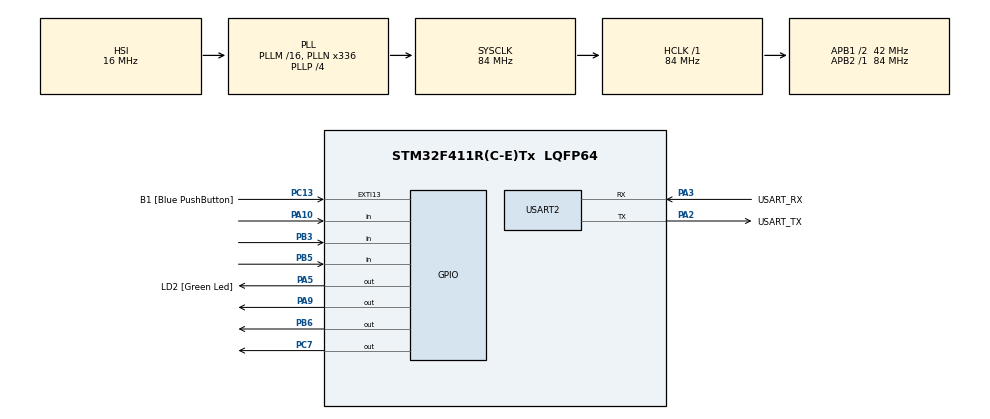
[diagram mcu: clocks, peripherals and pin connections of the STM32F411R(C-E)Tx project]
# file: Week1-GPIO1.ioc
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Mcu.Family=STM32F4
Mcu.Name=STM32F411R(C-E)Tx
Mcu.Package=LQFP64
NVIC.PriorityGroup=NVIC_PRIORITYGROUP_0
PA10.Signal=GPIO_Input
PA13.GPIO_Label=TMS
PA13.Mode=Serial_Wire
PA13.Signal=SYS_JTMS-SWDIO
PA14.GPIO_Label=TCK
PA14.Mode=Serial_Wire
PA14.Signal=SYS_JTCK-SWCLK
PA2.GPIO_Label=USART_TX
PA2.Mode=Asynchronous
PA2.Signal=USART2_TX
PA3.GPIO_Label=USART_RX
PA3.Mode=Asynchronous
PA3.Signal=USART2_RX
PA5.GPIO_Label=LD2 [Green Led]
PA5.Signal=GPIO_Output
PA9.Signal=GPIO_Output
PB3.Signal=GPIO_Input
PB5.Signal=GPIO_Input
PB6.Signal=GPIO_Output
PC13-ANTI_TAMP.GPIO_Label=B1 [Blue PushButton]
PC13-ANTI_TAMP.GPIO_ModeDefaultEXTI=GPIO_MODE_IT_FALLING
PC13-ANTI_TAMP.Signal=GPXTI13
PC14-OSC32_IN.Mode=LSE-External-Oscillator
PC14-OSC32_IN.Signal=RCC_OSC32_IN
PC15-OSC32_OUT.Mode=LSE-External-Oscillator
PC15-OSC32_OUT.Signal=RCC_OSC32_OUT
PC7.Signal=GPIO_Output
PH0\ -\ OSC_IN.Mode=HSE-External-Clock-Source
PH0\ -\ OSC_IN.Signal=RCC_OSC_IN
PH1\ -\ OSC_OUT.Mode=HSE-External-Clock-Source
PH1\ -\ OSC_OUT.Signal=RCC_OSC_OUT
ProjectManager.HeapSize=0x200
ProjectManager.StackSize=0x400
ProjectManager.TargetToolchain=STM32CubeIDE
RCC.48MHZClocksFreq_Value=84000000
RCC.AHBFreq_Value=84000000
RCC.APB1CLKDivider=RCC_HCLK_DIV2
RCC.APB1Freq_Value=42000000
RCC.APB1TimFreq_Value=84000000
RCC.APB2Freq_Value=84000000
RCC.APB2TimFreq_Value=84000000
RCC.CortexFreq_Value=84000000
RCC.FLatency-AdvancedSettings=FLASH_LATENCY_2
RCC.HCLKFreq_Value=84000000
RCC.HSE_VALUE=8000000
RCC.HSI_VALUE=16000000
RCC.PLLN=336
RCC.PLLP=RCC_PLLP_DIV4
RCC.SYSCLKFreq_VALUE=84000000
RCC.SYSCLKSource=RCC_SYSCLKSOURCE_PLLCLK
RCC.VCOOutputFreq_Value=336000000
USART2.VirtualMode=VM_ASYNC
board=NUCLEO-F411RE

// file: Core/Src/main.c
/* USER CODE BEGIN Header */
/**
 ******************************************************************************
 * @file           : main.c
 * @brief          : Main program body
 ******************************************************************************
 * @attention
 *
 * <h2><center>&copy; Copyright (c) 2021 STMicroelectronics.
 * All rights reserved.</center></h2>
 *
 * This software component is licensed by ST under BSD 3-Clause license,
 * the "License"; You may not use this file except in compliance with the
 * License. You may obtain a copy of the License at:
 *                        opensource.org/licenses/BSD-3-Clause
 *
 ******************************************************************************
 */
/* USER CODE END Header */
#include "main.h"

UART_HandleTypeDef huart2;

void SystemClock_Config(void);
static void MX_GPIO_Init(void);
static void MX_USART2_UART_Init(void);

int main(void)
{

  /* MCU Configuration--------------------------------------------------------*/

  /* Reset of all peripherals, Initializes the Flash interface and the Systick. */
  HAL_Init();

  /* Configure the system clock */
  SystemClock_Config();

  /* Initialize all configured peripherals */
  MX_GPIO_Init();
  MX_USART2_UART_Init();
  /* USER CODE BEGIN 2 */

	GPIO_PinState SWState[2]; // Now,Last
	GPIO_PinState SWState2[2]; // Now,Last
	GPIO_PinState SWState3[2]; // Now,Last
	uint16_t LEB1_HalfPeriod = 1000; //uint8_tมี255 ไม่พอ 1hz
	uint32_t TimeStamp = 0;
	uint32_t TimeStamp2 = 0;
	uint16_t Time_D5 = 500; // start 0.5Hz
	uint32_t ButtonTimeStamp = 0;
	uint8_t State_S2 = 0;
	uint8_t State_S3 = 0;

  /* USER CODE END 2 */

  /* Infinite loop */
	while (1) {

    /* USER CODE BEGIN 3 */
	if(HAL_GetTick()- ButtonTimeStamp >= 100) //ms
	{
		ButtonTimeStamp = HAL_GetTick();
		//HAL_GPIO_ReadPin(GPIOA, GPIO_PIN_10);
		//sw press=low
		SWState[0] = HAL_GPIO_ReadPin(GPIOA, GPIO_PIN_10);
		SWState2[0] = HAL_GPIO_ReadPin(GPIOB, GPIO_PIN_3);
		SWState3[0] = HAL_GPIO_ReadPin(GPIOB, GPIO_PIN_5);
		if (SWState[1] == GPIO_PIN_SET && SWState[0] == GPIO_PIN_RESET) {
			//เปลี่ยนความถี่
			if (LEB1_HalfPeriod == 1000) {
				LEB1_HalfPeriod = 500;
			}
			else if (LEB1_HalfPeriod == 500) {
				LEB1_HalfPeriod = 250;
			}
			else if (LEB1_HalfPeriod == 250) {
				LEB1_HalfPeriod = 1000/6;
			}
			else {
				LEB1_HalfPeriod = 1000;
			}
		}

		//S2
		if (SWState2[1] == GPIO_PIN_SET && SWState2[0] == GPIO_PIN_RESET) {
			//เปลี่ยนความถี่
			if (State_S2 == 0) {
				State_S2 = 1;
				HAL_GPIO_WritePin(GPIOC, GPIO_PIN_7, GPIO_PIN_SET);
			}
			else if(State_S2 == 1){
				State_S2 = 0;
				HAL_GPIO_WritePin(GPIOC, GPIO_PIN_7, GPIO_PIN_RESET);

			}

			else {
				State_S2 = 0;
				HAL_GPIO_WritePin(GPIOC, GPIO_PIN_7, GPIO_PIN_RESET);
			}
		}
		///end s2
		// S3
		if (SWState3[1] == GPIO_PIN_SET && SWState3[0] == GPIO_PIN_RESET) {
			//เปลี่ยนความถี่
			if (State_S3 == 0) {
				State_S3 = 1;
				Time_D5 == 1500;
				//HAL_GPIO_WritePin(GPIOB, GPIO_PIN_6, GPIO_PIN_SET);
			}
			else if(State_S3 == 1){
				State_S3 = 0;
				Time_D5 == 500;
				//HAL_GPIO_WritePin(GPIOB, GPIO_PIN_6, GPIO_PIN_RESET);
			}

			else {
				State_S3 = 0;
			}
		}
		//end S3

		SWState[1] = SWState[0];
		SWState2[1] = SWState2[0];
		SWState3[1] = SWState3[0]; //add test comment
	}
	// end about sw

	///////////////////////////////////////////////////// LED Action /////////////////////////////////////////////////////////////

	//run led D1
	//HAL_GetTick(); // ms
	if (HAL_GetTick() - TimeStamp >= LEB1_HalfPeriod) {
		TimeStamp = HAL_GetTick();
		if (HAL_GPIO_ReadPin(GPIOA, GPIO_PIN_9) == GPIO_PIN_SET) {
			HAL_GPIO_WritePin(GPIOA, GPIO_PIN_9, GPIO_PIN_RESET);
		} else {
			HAL_GPIO_WritePin(GPIOA, GPIO_PIN_9, GPIO_PIN_SET);
		}
	} //end s1

	//run LED D5
	if (HAL_GetTick() - TimeStamp2 >= Time_D5) {
		TimeStamp2 = HAL_GetTick();

		if (HAL_GPIO_ReadPin(GPIOB, GPIO_PIN_6) == GPIO_PIN_SET) {
			if(State_S3 == 0){ Time_D5=500; }
			else if(State_S3 == 1){ Time_D5=1500; }
			HAL_GPIO_WritePin(GPIOB, GPIO_PIN_6, GPIO_PIN_RESET);
		} else {
			if(State_S3 == 0){ Time_D5=1500; }
			else if(State_S3 == 1){ Time_D5=500; }
			HAL_GPIO_WritePin(GPIOB, GPIO_PIN_6, GPIO_PIN_SET);
		}
	}
	///end run LED D5

	}
  /* USER CODE END 3 */
}

void SystemClock_Config(void)
{
  RCC_OscInitTypeDef RCC_OscInitStruct = {0};
  RCC_ClkInitTypeDef RCC_ClkInitStruct = {0};

  /** Configure the main internal regulator output voltage
  */
  __HAL_RCC_PWR_CLK_ENABLE();
  __HAL_PWR_VOLTAGESCALING_CONFIG(PWR_REGULATOR_VOLTAGE_SCALE1);
  /** Initializes the RCC Oscillators according to the specified parameters
  * in the RCC_OscInitTypeDef structure.
  */
  RCC_OscInitStruct.OscillatorType = RCC_OSCILLATORTYPE_HSI;
  RCC_OscInitStruct.HSIState = RCC_HSI_ON;
  RCC_OscInitStruct.HSICalibrationValue = RCC_HSICALIBRATION_DEFAULT;
  RCC_OscInitStruct.PLL.PLLState = RCC_PLL_ON;
  RCC_OscInitStruct.PLL.PLLSource = RCC_PLLSOURCE_HSI;
  RCC_OscInitStruct.PLL.PLLM = 16;
  RCC_OscInitStruct.PLL.PLLN = 336;
  RCC_OscInitStruct.PLL.PLLP = RCC_PLLP_DIV4;
  RCC_OscInitStruct.PLL.PLLQ = 4;
  if (HAL_RCC_OscConfig(&RCC_OscInitStruct) != HAL_OK)
  {
    Error_Handler();
  }
  /** Initializes the CPU, AHB and APB buses clocks
  */
  RCC_ClkInitStruct.ClockType = RCC_CLOCKTYPE_HCLK|RCC_CLOCKTYPE_SYSCLK
                              |RCC_CLOCKTYPE_PCLK1|RCC_CLOCKTYPE_PCLK2;
  RCC_ClkInitStruct.SYSCLKSource = RCC_SYSCLKSOURCE_PLLCLK;
  RCC_ClkInitStruct.AHBCLKDivider = RCC_SYSCLK_DIV1;
  RCC_ClkInitStruct.APB1CLKDivider = RCC_HCLK_DIV2;
  RCC_ClkInitStruct.APB2CLKDivider = RCC_HCLK_DIV1;

  if (HAL_RCC_ClockConfig(&RCC_ClkInitStruct, FLASH_LATENCY_2) != HAL_OK)
  {
    Error_Handler();
  }
}

static void MX_USART2_UART_Init(void)
{

  huart2.Instance = USART2;
  huart2.Init.BaudRate = 115200;
  huart2.Init.WordLength = UART_WORDLENGTH_8B;
  huart2.Init.StopBits = UART_STOPBITS_1;
  huart2.Init.Parity = UART_PARITY_NONE;
  huart2.Init.Mode = UART_MODE_TX_RX;
  huart2.Init.HwFlowCtl = UART_HWCONTROL_NONE;
  huart2.Init.OverSampling = UART_OVERSAMPLING_16;
  if (HAL_UART_Init(&huart2) != HAL_OK)
  {
    Error_Handler();
  }

}

static void MX_GPIO_Init(void)
{
  GPIO_InitTypeDef GPIO_InitStruct = {0};

  /* GPIO Ports Clock Enable */
  __HAL_RCC_GPIOC_CLK_ENABLE();
  __HAL_RCC_GPIOH_CLK_ENABLE();
  __HAL_RCC_GPIOA_CLK_ENABLE();
  __HAL_RCC_GPIOB_CLK_ENABLE();

  /*Configure GPIO pin Output Level */
  HAL_GPIO_WritePin(GPIOA, LD2_Pin|GPIO_PIN_9, GPIO_PIN_RESET);

  /*Configure GPIO pin Output Level */
  HAL_GPIO_WritePin(GPIOC, GPIO_PIN_7, GPIO_PIN_RESET);

  /*Configure GPIO pin Output Level */
  HAL_GPIO_WritePin(GPIOB, GPIO_PIN_6, GPIO_PIN_RESET);

  /*Configure GPIO pin : B1_Pin */
  GPIO_InitStruct.Pin = B1_Pin;
  GPIO_InitStruct.Mode = GPIO_MODE_IT_FALLING;
  GPIO_InitStruct.Pull = GPIO_NOPULL;
  HAL_GPIO_Init(B1_GPIO_Port, &GPIO_InitStruct);

  /*Configure GPIO pins : LD2_Pin PA9 */
  GPIO_InitStruct.Pin = LD2_Pin|GPIO_PIN_9;
  GPIO_InitStruct.Mode = GPIO_MODE_OUTPUT_PP;
  GPIO_InitStruct.Pull = GPIO_NOPULL;
  GPIO_InitStruct.Speed = GPIO_SPEED_FREQ_LOW;
  HAL_GPIO_Init(GPIOA, &GPIO_InitStruct);

  /*Configure GPIO pin : PC7 */
  GPIO_InitStruct.Pin = GPIO_PIN_7;
  GPIO_InitStruct.Mode = GPIO_MODE_OUTPUT_PP;
  GPIO_InitStruct.Pull = GPIO_NOPULL;
  GPIO_InitStruct.Speed = GPIO_SPEED_FREQ_LOW;
  HAL_GPIO_Init(GPIOC, &GPIO_InitStruct);

  /*Configure GPIO pin : PA10 */
  GPIO_InitStruct.Pin = GPIO_PIN_10;
  GPIO_InitStruct.Mode = GPIO_MODE_INPUT;
  GPIO_InitStruct.Pull = GPIO_NOPULL;
  HAL_GPIO_Init(GPIOA, &GPIO_InitStruct);

  /*Configure GPIO pins : PB3 PB5 */
  GPIO_InitStruct.Pin = GPIO_PIN_3|GPIO_PIN_5;
  GPIO_InitStruct.Mode = GPIO_MODE_INPUT;
  GPIO_InitStruct.Pull = GPIO_NOPULL;
  HAL_GPIO_Init(GPIOB, &GPIO_InitStruct);

  /*Configure GPIO pin : PB6 */
  GPIO_InitStruct.Pin = GPIO_PIN_6;
  GPIO_InitStruct.Mode = GPIO_MODE_OUTPUT_PP;
  GPIO_InitStruct.Pull = GPIO_NOPULL;
  GPIO_InitStruct.Speed = GPIO_SPEED_FREQ_LOW;
  HAL_GPIO_Init(GPIOB, &GPIO_InitStruct);

}

void Error_Handler(void)
{
	__disable_irq();
	while (1) {
	}
}

/************************ (C) COPYRIGHT STMicroelectronics *****END OF FILE****/
